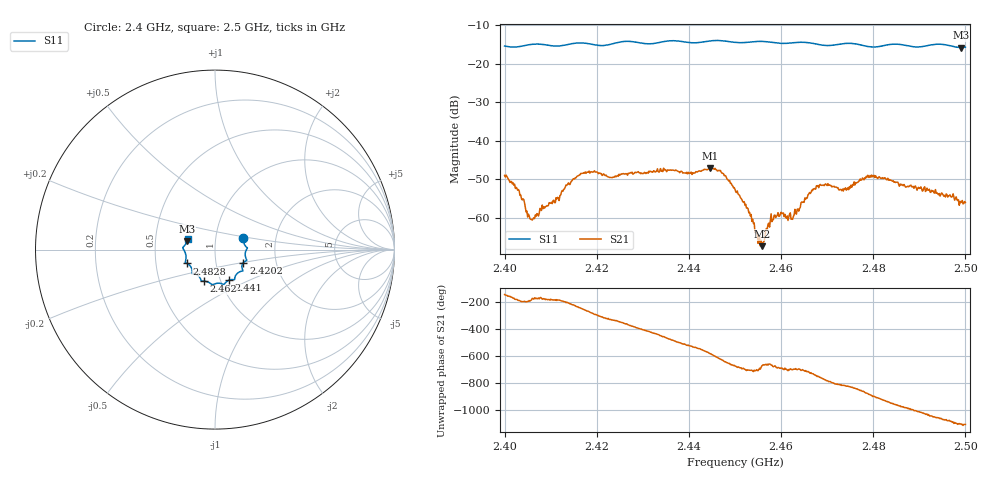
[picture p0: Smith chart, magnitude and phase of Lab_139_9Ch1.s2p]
# Hz S RI R 50
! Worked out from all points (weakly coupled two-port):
!   601 points, 2.4 GHz to 2.5 GHz, reference 50 ohm
!   highest |S21| = -47.09 dB at 2.4447 GHz (marker M1); lowest = -67.4 dB at 2.4558 GHz (marker M2)
!   lowest |S11| = -15.8 dB at 2.499 GHz (marker M3), VSWR 1.39, Z = 36.4 + j3.53 ohm
!   |S11| at or under -10 dB: start of sweep to end of sweep
!   S12 and S22 are empty: the file has one direction only
!   S11 on the Smith chart (normalised r, x): 2.4 GHz: 1.36, +0.17; 2.4202 GHz: 1.36, -0.20; 2.441 GHz: 1.10, -0.39; 2.462 GHz: 0.84, -0.30; 2.4828 GHz: 0.72, -0.11; 2.5 GHz: 0.73, +0.09
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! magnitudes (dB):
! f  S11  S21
! 2.4 GHz  -15.4  -49.0
! 2.4027 GHz  -15.6  -52.3
! 2.406 GHz  -14.9  -60.6
! 2.4167 GHz  -14.6  -48.5
! 2.4202 GHz  -15.2  -48.2
! 2.4233 GHz  -14.8  -49.6
! 2.4333 GHz  -14.5  -48.0
! 2.441 GHz  -14.5  -48.5
! 2.4447 GHz  -14.0  -47.1
! 2.447 GHz  -14.0  -48.1
! 2.45 GHz  -14.4  -52.6
! 2.4558 GHz  -14.2  -67.4
! 2.4582 GHz  -14.5  -60.6
! 2.462 GHz  -14.6  -58.7
! 2.4667 GHz  -14.6  -52.8
! 2.4697 GHz  -15.2  -51.2
! 2.4737 GHz  -14.7  -52.4
! 2.4792 GHz  -15.6  -49.5
! 2.4828 GHz  -15.1  -50.1
! 2.4833 GHz  -15.0  -50.2
! 2.499 GHz  -15.8  -56.0
! 2.5 GHz  -15.7  -56.0
